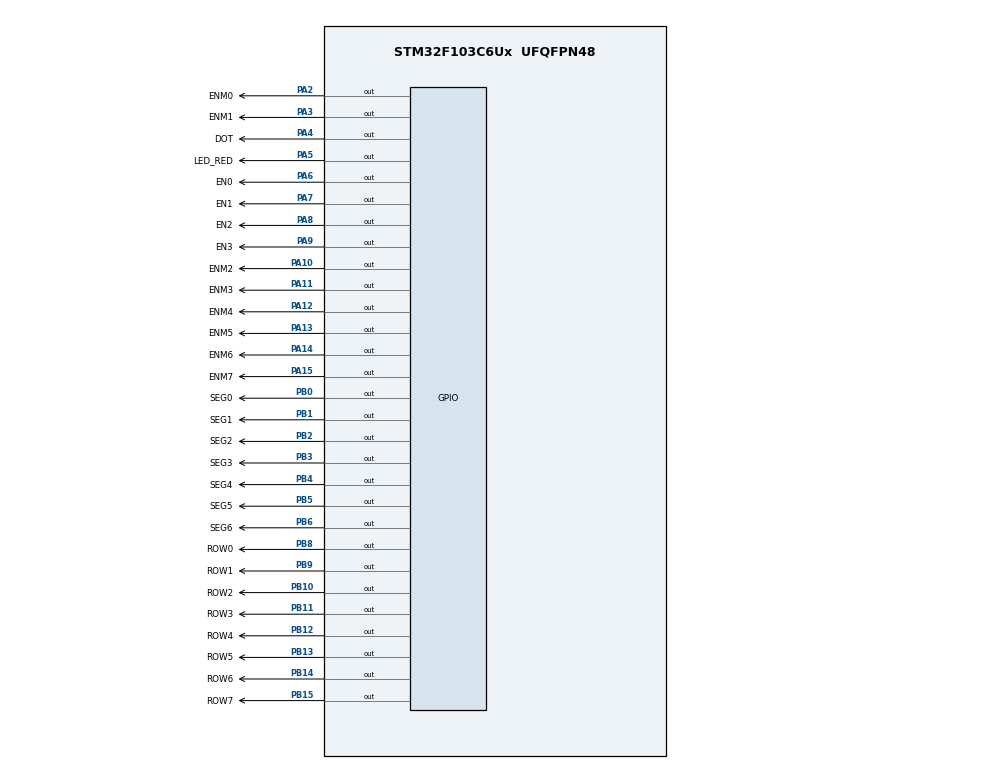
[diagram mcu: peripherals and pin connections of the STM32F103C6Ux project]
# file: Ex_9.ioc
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Mcu.Family=STM32F1
Mcu.Name=STM32F103C6Ux
Mcu.Package=UFQFPN48
NVIC.PriorityGroup=NVIC_PRIORITYGROUP_4
NVIC.TIM2_IRQn=true\:0\:0\:false\:false\:true\:true\:true
PA10.GPIO_Label=ENM2
PA10.Signal=GPIO_Output
PA11.GPIO_Label=ENM3
PA11.Signal=GPIO_Output
PA12.GPIO_Label=ENM4
PA12.Signal=GPIO_Output
PA13.GPIO_Label=ENM5
PA13.Signal=GPIO_Output
PA14.GPIO_Label=ENM6
PA14.Signal=GPIO_Output
PA15.GPIO_Label=ENM7
PA15.Signal=GPIO_Output
PA2.GPIO_Label=ENM0
PA2.Signal=GPIO_Output
PA3.GPIO_Label=ENM1
PA3.Signal=GPIO_Output
PA4.GPIO_Label=DOT
PA4.Signal=GPIO_Output
PA5.GPIO_Label=LED_RED
PA5.Signal=GPIO_Output
PA6.GPIO_Label=EN0
PA6.Signal=GPIO_Output
PA7.GPIO_Label=EN1
PA7.Signal=GPIO_Output
PA8.GPIO_Label=EN2
PA8.Signal=GPIO_Output
PA9.GPIO_Label=EN3
PA9.Signal=GPIO_Output
PB0.GPIO_Label=SEG0
PB0.Signal=GPIO_Output
PB1.GPIO_Label=SEG1
PB1.Signal=GPIO_Output
PB10.GPIO_Label=ROW2
PB10.Signal=GPIO_Output
PB11.GPIO_Label=ROW3
PB11.Signal=GPIO_Output
PB12.GPIO_Label=ROW4
PB12.Signal=GPIO_Output
PB13.GPIO_Label=ROW5
PB13.Signal=GPIO_Output
PB14.GPIO_Label=ROW6
PB14.Signal=GPIO_Output
PB15.GPIO_Label=ROW7
PB15.Signal=GPIO_Output
PB2.GPIO_Label=SEG2
PB2.Signal=GPIO_Output
PB3.GPIO_Label=SEG3
PB3.Signal=GPIO_Output
PB4.GPIO_Label=SEG4
PB4.Signal=GPIO_Output
PB5.GPIO_Label=SEG5
PB5.Signal=GPIO_Output
PB6.GPIO_Label=SEG6
PB6.Signal=GPIO_Output
PB8.GPIO_Label=ROW0
PB8.Signal=GPIO_Output
PB9.GPIO_Label=ROW1
PB9.Signal=GPIO_Output
ProjectManager.HeapSize=0x200
ProjectManager.StackSize=0x400
ProjectManager.TargetToolchain=STM32CubeIDE
RCC.APB1Freq_Value=8000000
RCC.APB2Freq_Value=8000000
TIM2.Period=9
TIM2.Prescaler=7999
VP_SYS_VS_ND.Mode=No_Debug
VP_TIM2_VS_ClockSourceINT.Mode=Internal
board=custom

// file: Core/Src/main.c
/* USER CODE BEGIN Header */
/**
  ******************************************************************************
  * @file           : main.c
  * @brief          : Main program body
  ******************************************************************************
  * @attention
  *
  * <h2><center>&copy; Copyright (c) 2023 STMicroelectronics.
  * All rights reserved.</center></h2>
  *
  * This software component is licensed by ST under BSD 3-Clause license,
  * the "License"; You may not use this file except in compliance with the
  * License. You may obtain a copy of the License at:
  *                        opensource.org/licenses/BSD-3-Clause
  *
  ******************************************************************************
  */
/* USER CODE END Header */
#include "main.h"

TIM_HandleTypeDef htim2;

void SystemClock_Config(void);
static void MX_GPIO_Init(void);
static void MX_TIM2_Init(void);
/* USER CODE BEGIN PFP */
void update7SEG(int index);
void display7SEG(int num);
void updateClockBuffer(void);

void updateLEDMatrix(int index);
void displayLEDMatrix(int num);
/* USER CODE END PFP */

/* USER CODE BEGIN 0 */
int hour = 15, minute = 8, second = 50;

const int MAX_LED = 4;
int index_led = 0;
int led_buffer[4] = {1, 3, 5, 7};
int counter = 100;

int timer0_counter = 0;
int timer0_flag = 0;
int TIMER_CYCLE = 10;

const int MAX_LED_MATRIX = 8;
int index_led_matrix = 0;
uint8_t matrix_buffer[8] = {0x00, 0xfc, 0xfe, 0x33, 0x33, 0xfe, 0xfc, 0x00};
int scan_matrix[8] = {1, 2, 4, 8, 16, 32, 64, 128};

void setTimer0(int duration){
	timer0_counter = duration / TIMER_CYCLE;
	timer0_flag = 0;
}

int timer1_counter = 0;
int timer1_flag = 0;

void setTimer1(int duration) {
	timer1_counter = duration / TIMER_CYCLE;
	timer1_flag = 0;
}

int timer2_counter = 0;
int timer2_flag = 0;
void setTimer2(int duration) {
	timer2_counter = duration / TIMER_CYCLE;
	timer2_flag = 0;
}

void timer_run(){
	if(timer0_counter > 0){
		timer0_counter--;
		if(timer0_counter == 0)
			timer0_flag = 1;
	}
	if(timer1_counter > 0){
		timer1_counter--;
		if(timer1_counter == 0)
			timer1_flag = 1;
	}

	if(timer2_counter > 0){
		timer2_counter--;
		if(timer2_counter == 0)
		timer2_flag = 1;
	}
}
/* USER CODE END 0 */

int main(void)
{

  /* MCU Configuration--------------------------------------------------------*/

  /* Reset of all peripherals, Initializes the Flash interface and the Systick. */
  HAL_Init();

  /* Configure the system clock */
  SystemClock_Config();

  /* Initialize all configured peripherals */
  MX_GPIO_Init();
  MX_TIM2_Init();
  /* USER CODE BEGIN 2 */
  HAL_TIM_Base_Start_IT(&htim2);
  setTimer0(TIMER_CYCLE);
  setTimer1(TIMER_CYCLE);
  setTimer2(TIMER_CYCLE);
  /* USER CODE END 2 */

  /* Infinite loop */
  /* USER CODE BEGIN WHILE */
  while (1)
  {
	  if(timer0_flag == 1){
		  second++;
	  	  if(second >= 60) {
			  minute+=1;
			  second = 0;
	  	  }
	  	  if(minute >= 60) {
	  		  hour+=1;
	 		  minute = 0;
	  	  }
	  	  if(hour >= 24) {
	  		  hour = 0;
	  	  }
	  	  updateClockBuffer();
	  	  HAL_GPIO_TogglePin(GPIOA, DOT_Pin);
		  setTimer0(1000);
	  }
	  if(timer1_flag == 1) {
		  update7SEG(index_led);
		  index_led = (index_led + 1) % 4;
		  setTimer1(1000);
	  }
	  if(timer2_flag == 1) {
		  displayLEDMatrix(-1);
		  updateLEDMatrix(index_led_matrix);
		  index_led_matrix = (index_led_matrix+1) % MAX_LED_MATRIX;
		  setTimer2(TIMER_CYCLE);
	  }
  }
  /* USER CODE END 3 */
}

void SystemClock_Config(void)
{
  RCC_OscInitTypeDef RCC_OscInitStruct = {0};
  RCC_ClkInitTypeDef RCC_ClkInitStruct = {0};

  /** Initializes the RCC Oscillators according to the specified parameters
  * in the RCC_OscInitTypeDef structure.
  */
  RCC_OscInitStruct.OscillatorType = RCC_OSCILLATORTYPE_HSI;
  RCC_OscInitStruct.HSIState = RCC_HSI_ON;
  RCC_OscInitStruct.HSICalibrationValue = RCC_HSICALIBRATION_DEFAULT;
  RCC_OscInitStruct.PLL.PLLState = RCC_PLL_NONE;
  if (HAL_RCC_OscConfig(&RCC_OscInitStruct) != HAL_OK)
  {
    Error_Handler();
  }
  /** Initializes the CPU, AHB and APB buses clocks
  */
  RCC_ClkInitStruct.ClockType = RCC_CLOCKTYPE_HCLK|RCC_CLOCKTYPE_SYSCLK
                              |RCC_CLOCKTYPE_PCLK1|RCC_CLOCKTYPE_PCLK2;
  RCC_ClkInitStruct.SYSCLKSource = RCC_SYSCLKSOURCE_HSI;
  RCC_ClkInitStruct.AHBCLKDivider = RCC_SYSCLK_DIV1;
  RCC_ClkInitStruct.APB1CLKDivider = RCC_HCLK_DIV1;
  RCC_ClkInitStruct.APB2CLKDivider = RCC_HCLK_DIV1;

  if (HAL_RCC_ClockConfig(&RCC_ClkInitStruct, FLASH_LATENCY_0) != HAL_OK)
  {
    Error_Handler();
  }
}

static void MX_TIM2_Init(void)
{

  TIM_ClockConfigTypeDef sClockSourceConfig = {0};
  TIM_MasterConfigTypeDef sMasterConfig = {0};

  htim2.Instance = TIM2;
  htim2.Init.Prescaler = 7999;
  htim2.Init.CounterMode = TIM_COUNTERMODE_UP;
  htim2.Init.Period = 9;
  htim2.Init.ClockDivision = TIM_CLOCKDIVISION_DIV1;
  htim2.Init.AutoReloadPreload = TIM_AUTORELOAD_PRELOAD_DISABLE;
  if (HAL_TIM_Base_Init(&htim2) != HAL_OK)
  {
    Error_Handler();
  }
  sClockSourceConfig.ClockSource = TIM_CLOCKSOURCE_INTERNAL;
  if (HAL_TIM_ConfigClockSource(&htim2, &sClockSourceConfig) != HAL_OK)
  {
    Error_Handler();
  }
  sMasterConfig.MasterOutputTrigger = TIM_TRGO_RESET;
  sMasterConfig.MasterSlaveMode = TIM_MASTERSLAVEMODE_DISABLE;
  if (HAL_TIMEx_MasterConfigSynchronization(&htim2, &sMasterConfig) != HAL_OK)
  {
    Error_Handler();
  }

}

static void MX_GPIO_Init(void)
{
  GPIO_InitTypeDef GPIO_InitStruct = {0};

  /* GPIO Ports Clock Enable */
  __HAL_RCC_GPIOA_CLK_ENABLE();
  __HAL_RCC_GPIOB_CLK_ENABLE();

  /*Configure GPIO pin Output Level */
  HAL_GPIO_WritePin(GPIOA, ENM0_Pin|ENM1_Pin|DOT_Pin|LED_RED_Pin
                          |EN0_Pin|EN1_Pin|EN2_Pin|EN3_Pin
                          |ENM2_Pin|ENM3_Pin|ENM4_Pin|ENM5_Pin
                          |ENM6_Pin|ENM7_Pin, GPIO_PIN_RESET);

  /*Configure GPIO pin Output Level */
  HAL_GPIO_WritePin(GPIOB, SEG0_Pin|SEG1_Pin|SEG2_Pin|ROW2_Pin
                          |ROW3_Pin|ROW4_Pin|ROW5_Pin|ROW6_Pin
                          |ROW7_Pin|SEG3_Pin|SEG4_Pin|SEG5_Pin
                          |SEG6_Pin|ROW0_Pin|ROW1_Pin, GPIO_PIN_RESET);

  /*Configure GPIO pins : ENM0_Pin ENM1_Pin DOT_Pin LED_RED_Pin
                           EN0_Pin EN1_Pin EN2_Pin EN3_Pin
                           ENM2_Pin ENM3_Pin ENM4_Pin ENM5_Pin
                           ENM6_Pin ENM7_Pin */
  GPIO_InitStruct.Pin = ENM0_Pin|ENM1_Pin|DOT_Pin|LED_RED_Pin
                          |EN0_Pin|EN1_Pin|EN2_Pin|EN3_Pin
                          |ENM2_Pin|ENM3_Pin|ENM4_Pin|ENM5_Pin
                          |ENM6_Pin|ENM7_Pin;
  GPIO_InitStruct.Mode = GPIO_MODE_OUTPUT_PP;
  GPIO_InitStruct.Pull = GPIO_NOPULL;
  GPIO_InitStruct.Speed = GPIO_SPEED_FREQ_LOW;
  HAL_GPIO_Init(GPIOA, &GPIO_InitStruct);

  /*Configure GPIO pins : SEG0_Pin SEG1_Pin SEG2_Pin ROW2_Pin
                           ROW3_Pin ROW4_Pin ROW5_Pin ROW6_Pin
                           ROW7_Pin SEG3_Pin SEG4_Pin SEG5_Pin
                           SEG6_Pin ROW0_Pin ROW1_Pin */
  GPIO_InitStruct.Pin = SEG0_Pin|SEG1_Pin|SEG2_Pin|ROW2_Pin
                          |ROW3_Pin|ROW4_Pin|ROW5_Pin|ROW6_Pin
                          |ROW7_Pin|SEG3_Pin|SEG4_Pin|SEG5_Pin
                          |SEG6_Pin|ROW0_Pin|ROW1_Pin;
  GPIO_InitStruct.Mode = GPIO_MODE_OUTPUT_PP;
  GPIO_InitStruct.Pull = GPIO_NOPULL;
  GPIO_InitStruct.Speed = GPIO_SPEED_FREQ_LOW;
  HAL_GPIO_Init(GPIOB, &GPIO_InitStruct);

}

/* USER CODE BEGIN 4 */
void HAL_TIM_PeriodElapsedCallback(TIM_HandleTypeDef *htim) {
	timer_run();
}

void display7SEG(int num) {
	switch (num) {
	case 0:
		HAL_GPIO_WritePin(GPIOB, SEG6_Pin, GPIO_PIN_SET);
		HAL_GPIO_WritePin(GPIOB, SEG0_Pin|SEG1_Pin|SEG2_Pin|
				SEG3_Pin|SEG4_Pin|SEG5_Pin, GPIO_PIN_RESET);
		break;
	case 1:
		HAL_GPIO_WritePin(GPIOB, SEG0_Pin|
				SEG3_Pin|SEG4_Pin|SEG5_Pin|SEG6_Pin, GPIO_PIN_SET);
		HAL_GPIO_WritePin(GPIOB, SEG1_Pin|SEG2_Pin, GPIO_PIN_RESET);
		break;
	case 2:
		HAL_GPIO_WritePin(GPIOB, SEG2_Pin|SEG5_Pin, GPIO_PIN_SET);
		HAL_GPIO_WritePin(GPIOB, SEG0_Pin|SEG1_Pin|
				SEG3_Pin|SEG4_Pin|SEG6_Pin, GPIO_PIN_RESET);
		break;
	case 3:
		HAL_GPIO_WritePin(GPIOB, SEG4_Pin|SEG5_Pin, GPIO_PIN_SET);
		HAL_GPIO_WritePin(GPIOB, SEG0_Pin|SEG1_Pin|SEG2_Pin|
				SEG3_Pin|SEG6_Pin, GPIO_PIN_RESET);
		break;
	case 4:
		HAL_GPIO_WritePin(GPIOB, SEG0_Pin|SEG3_Pin|SEG4_Pin, GPIO_PIN_SET);
		HAL_GPIO_WritePin(GPIOB, SEG1_Pin|SEG2_Pin|
				SEG5_Pin|SEG6_Pin, GPIO_PIN_RESET);
		break;
	case 5:
		HAL_GPIO_WritePin(GPIOB, SEG1_Pin|SEG4_Pin, GPIO_PIN_SET);
		HAL_GPIO_WritePin(GPIOB, SEG0_Pin|SEG2_Pin|SEG3_Pin|
				SEG5_Pin|SEG6_Pin, GPIO_PIN_RESET);
		break;
	case 6:
		HAL_GPIO_WritePin(GPIOB, SEG1_Pin, GPIO_PIN_SET);
		HAL_GPIO_WritePin(GPIOB, SEG0_Pin|SEG2_Pin|SEG3_Pin|SEG4_Pin|
				SEG5_Pin|SEG6_Pin, GPIO_PIN_RESET);
		break;
	case 7:
		HAL_GPIO_WritePin(GPIOB, SEG3_Pin|SEG4_Pin|
				SEG5_Pin|SEG6_Pin, GPIO_PIN_SET);
		HAL_GPIO_WritePin(GPIOB, SEG0_Pin|SEG1_Pin|SEG2_Pin, GPIO_PIN_RESET);
		break;
	case 8:
		HAL_GPIO_WritePin(GPIOB, SEG0_Pin|SEG1_Pin|SEG2_Pin|SEG3_Pin|SEG4_Pin|
				SEG5_Pin|SEG6_Pin, GPIO_PIN_RESET);
		break;
	case 9:
		HAL_GPIO_WritePin(GPIOB, SEG4_Pin, GPIO_PIN_SET);
		HAL_GPIO_WritePin(GPIOB, SEG0_Pin|SEG1_Pin|SEG2_Pin|SEG3_Pin|
				SEG5_Pin|SEG6_Pin, GPIO_PIN_RESET);
		break;
	default:
		HAL_GPIO_WritePin(GPIOB, SEG0_Pin|SEG1_Pin|SEG2_Pin|SEG3_Pin|SEG4_Pin|
				SEG5_Pin|SEG6_Pin, GPIO_PIN_SET);
		break;
	}
}

void update7SEG(int index_led) {
	switch (index_led) {
	case 0:
		// Display the first 7 SEG with led_buffer [0]
		HAL_GPIO_WritePin(GPIOA, EN0_Pin, GPIO_PIN_RESET);
		HAL_GPIO_WritePin(GPIOA, EN1_Pin, GPIO_PIN_SET);
		HAL_GPIO_WritePin(GPIOA, EN2_Pin, GPIO_PIN_SET);
		HAL_GPIO_WritePin(GPIOA, EN3_Pin, GPIO_PIN_SET);
		display7SEG(led_buffer[index_led]);
		break;
	case 1:
		// Display the second 7 SEG with led_buffer [1]
		HAL_GPIO_WritePin(GPIOA, EN0_Pin, GPIO_PIN_SET);
		HAL_GPIO_WritePin(GPIOA, EN1_Pin, GPIO_PIN_RESET);
		HAL_GPIO_WritePin(GPIOA, EN2_Pin, GPIO_PIN_SET);
		HAL_GPIO_WritePin(GPIOA, EN3_Pin, GPIO_PIN_SET);
		display7SEG(led_buffer[index_led]);
		break;
	case 2:
		// Display the third 7 SEG with led_buffer [2]
		HAL_GPIO_WritePin(GPIOA, EN0_Pin, GPIO_PIN_SET);
		HAL_GPIO_WritePin(GPIOA, EN1_Pin, GPIO_PIN_SET);
		HAL_GPIO_WritePin(GPIOA, EN2_Pin, GPIO_PIN_RESET);
		HAL_GPIO_WritePin(GPIOA, EN3_Pin, GPIO_PIN_SET);
		display7SEG(led_buffer[index_led]);
		break;
	case 3:
		// Display the forth 7 SEG with led_buffer [3]
		HAL_GPIO_WritePin(GPIOA, EN0_Pin, GPIO_PIN_SET);
		HAL_GPIO_WritePin(GPIOA, EN1_Pin, GPIO_PIN_SET);
		HAL_GPIO_WritePin(GPIOA, EN2_Pin, GPIO_PIN_SET);
		HAL_GPIO_WritePin(GPIOA, EN3_Pin, GPIO_PIN_RESET);
		display7SEG(led_buffer[index_led]);
		break;
	}
}

void updateClockBuffer(void) {
	led_buffer[0] = hour / 10;
	led_buffer[1] = hour % 10;
	led_buffer[2] = minute / 10;
	led_buffer[3] = minute % 10;
}

void displayLEDMatrix(int num) {
	switch (num){
	        case 0:
				HAL_GPIO_WritePin(GPIOB, ROW0_Pin, GPIO_PIN_RESET);
	            break;
	        case 1:
				HAL_GPIO_WritePin(GPIOB, ROW1_Pin, GPIO_PIN_RESET);
	            break;
	        case 2:
				HAL_GPIO_WritePin(GPIOB, ROW2_Pin, GPIO_PIN_RESET);
	            break;
	        case 3:
				HAL_GPIO_WritePin(GPIOB, ROW3_Pin, GPIO_PIN_RESET);
	            break;
	        case 4:
				HAL_GPIO_WritePin(GPIOB, ROW4_Pin, GPIO_PIN_RESET);
	            break;
	        case 5:
				HAL_GPIO_WritePin(GPIOB, ROW5_Pin, GPIO_PIN_RESET);
	            break;
	        case 6:
				HAL_GPIO_WritePin(GPIOB, ROW6_Pin, GPIO_PIN_RESET);
	            break;
	        case 7:
				HAL_GPIO_WritePin(GPIOB, ROW7_Pin, GPIO_PIN_RESET);
	            break;
	}
}

void updateLEDMatrix(int index){
    switch (index){
        case 0:
			HAL_GPIO_WritePin(GPIOA, ENM1_Pin|ENM2_Pin|ENM3_Pin|ENM4_Pin|ENM5_Pin|ENM6_Pin|ENM7_Pin, GPIO_PIN_SET);
			HAL_GPIO_WritePin(GPIOA, ENM0_Pin, GPIO_PIN_RESET);
            break;
        case 1:
			HAL_GPIO_WritePin(GPIOA, ENM0_Pin|ENM2_Pin|ENM3_Pin|ENM4_Pin|ENM5_Pin|ENM6_Pin|ENM7_Pin, GPIO_PIN_SET);
			HAL_GPIO_WritePin(GPIOA, ENM1_Pin, GPIO_PIN_RESET);
            break;
        case 2:
			HAL_GPIO_WritePin(GPIOA, ENM0_Pin|ENM1_Pin|ENM3_Pin|ENM4_Pin|ENM5_Pin|ENM6_Pin|ENM7_Pin, GPIO_PIN_SET);
			HAL_GPIO_WritePin(GPIOA, ENM2_Pin, GPIO_PIN_RESET);
            break;
        case 3:
			HAL_GPIO_WritePin(GPIOA, ENM0_Pin|ENM1_Pin|ENM2_Pin|ENM4_Pin|ENM5_Pin|ENM6_Pin|ENM7_Pin, GPIO_PIN_SET);
			HAL_GPIO_WritePin(GPIOA, ENM3_Pin, GPIO_PIN_RESET);
            break;
        case 4:
			HAL_GPIO_WritePin(GPIOA, ENM0_Pin|ENM1_Pin|ENM2_Pin|ENM3_Pin|ENM5_Pin|ENM6_Pin|ENM7_Pin, GPIO_PIN_SET);
			HAL_GPIO_WritePin(GPIOA, ENM4_Pin, GPIO_PIN_RESET);
            break;
        case 5:
			HAL_GPIO_WritePin(GPIOA, ENM0_Pin|ENM1_Pin|ENM2_Pin|ENM3_Pin|ENM4_Pin|ENM6_Pin|ENM7_Pin, GPIO_PIN_SET);
			HAL_GPIO_WritePin(GPIOA, ENM5_Pin, GPIO_PIN_RESET);
            break;
        case 6:
			HAL_GPIO_WritePin(GPIOA, ENM0_Pin|ENM1_Pin|ENM2_Pin|ENM3_Pin|ENM4_Pin|ENM5_Pin|ENM7_Pin, GPIO_PIN_SET);
			HAL_GPIO_WritePin(GPIOA, ENM6_Pin, GPIO_PIN_RESET);
            break;
        case 7:
			HAL_GPIO_WritePin(GPIOA, ENM0_Pin|ENM1_Pin|ENM2_Pin|ENM3_Pin|ENM4_Pin|ENM5_Pin|ENM6_Pin, GPIO_PIN_SET);
			HAL_GPIO_WritePin(GPIOA, ENM7_Pin, GPIO_PIN_RESET);
            break;
    }
    for(int row = 0; row < MAX_LED_MATRIX; ++row) {
    	if((matrix_buffer[index] & scan_matrix[row]) > 0)
    		displayLEDMatrix(row);
    }
}
/* USER CODE END 4 */

void Error_Handler(void)
{
  __disable_irq();
  while (1)
  {
  }
}

/************************ (C) COPYRIGHT STMicroelectronics *****END OF FILE****/
